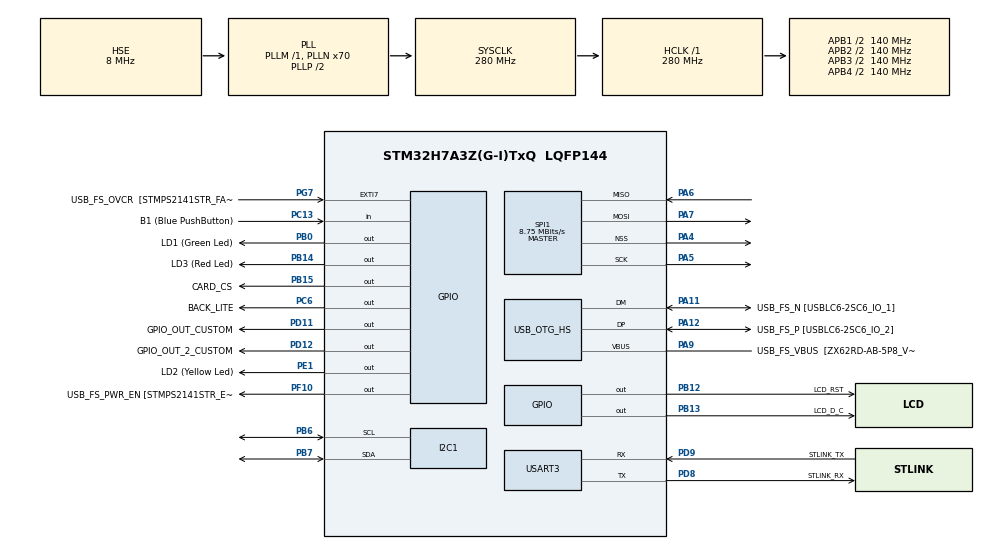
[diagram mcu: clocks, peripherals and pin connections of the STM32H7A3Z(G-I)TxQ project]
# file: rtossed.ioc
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Dma.Request0=SPI1_TX
Dma.SPI1_TX.0.Direction=DMA_MEMORY_TO_PERIPH
Dma.SPI1_TX.0.EventEnable=DISABLE
Dma.SPI1_TX.0.FIFOMode=DMA_FIFOMODE_DISABLE
Dma.SPI1_TX.0.Instance=DMA1_Stream0
Dma.SPI1_TX.0.MemDataAlignment=DMA_MDATAALIGN_BYTE
Dma.SPI1_TX.0.MemInc=DMA_MINC_ENABLE
Dma.SPI1_TX.0.Mode=DMA_NORMAL
Dma.SPI1_TX.0.PeriphDataAlignment=DMA_PDATAALIGN_BYTE
Dma.SPI1_TX.0.PeriphInc=DMA_PINC_DISABLE
Dma.SPI1_TX.0.Polarity=HAL_DMAMUX_REQ_GEN_RISING
Dma.SPI1_TX.0.Priority=DMA_PRIORITY_LOW
Dma.SPI1_TX.0.RequestNumber=1
Dma.SPI1_TX.0.SignalID=NONE
Dma.SPI1_TX.0.SyncEnable=DISABLE
Dma.SPI1_TX.0.SyncPolarity=HAL_DMAMUX_SYNC_NO_EVENT
Dma.SPI1_TX.0.SyncRequestNumber=1
Dma.SPI1_TX.0.SyncSignalID=NONE
I2C1.Timing=0x20B0CCFF
Mcu.Family=STM32H7
Mcu.Name=STM32H7A3Z(G-I)TxQ
Mcu.Package=LQFP144
NVIC.DMA1_Stream0_IRQn=true\:0\:0\:false\:false\:true\:false\:true\:true
NVIC.OTG_HS_IRQn=true\:0\:0\:false\:false\:true\:false\:true\:true
NVIC.PriorityGroup=NVIC_PRIORITYGROUP_4
NVIC.SPI1_IRQn=true\:0\:0\:false\:false\:true\:false\:true\:true
PA10.GPIO_Label=USB_FS_ID [ZX62RD-AB-5P8_ID]
PA10.Signal=USB_OTG_HS_ID
PA11.GPIO_Label=USB_FS_N [USBLC6-2SC6_IO_1]
PA11.Mode=Device_Only_FS
PA11.Signal=USB_OTG_HS_DM
PA12.GPIO_Label=USB_FS_P [USBLC6-2SC6_IO_2]
PA12.Mode=Device_Only_FS
PA12.Signal=USB_OTG_HS_DP
PA4.Mode=NSS_Signal_Hard_Output
PA4.Signal=SPI1_NSS
PA5.Mode=Full_Duplex_Master
PA5.Signal=SPI1_SCK
PA6.Mode=Full_Duplex_Master
PA6.Signal=SPI1_MISO
PA7.Mode=Full_Duplex_Master
PA7.Signal=SPI1_MOSI
PA9.GPIO_Label=USB_FS_VBUS  [ZX62RD-AB-5P8_VBUS]
PA9.Mode=Activate_VBUS_FS
PA9.Signal=USB_OTG_HS_VBUS
PB0.GPIO_Label=LD1 (Green Led)
PB0.Signal=GPIO_Output
PB12.GPIO_Label=LCD_RST
PB12.Signal=GPIO_Output
PB13.GPIO_Label=LCD_D_C
PB13.Signal=GPIO_Output
PB14.GPIO_Label=LD3 (Red Led)
PB14.Signal=GPIO_Output
PB15.GPIO_Label=CARD_CS
PB15.Signal=GPIO_Output
PB6.Mode=I2C
PB6.Signal=I2C1_SCL
PB7.Mode=I2C
PB7.Signal=I2C1_SDA
PC13.GPIO_Label=B1 (Blue PushButton)
PC13.Signal=GPIO_Input
PC14-OSC32_IN.GPIO_Label=OSC32_IN
PC14-OSC32_IN.Mode=LSE-External-Oscillator
PC14-OSC32_IN.Signal=RCC_OSC32_IN
PC15-OSC32_OUT.GPIO_Label=OSC32_OUT
PC15-OSC32_OUT.Mode=LSE-External-Oscillator
PC15-OSC32_OUT.Signal=RCC_OSC32_OUT
PC6.GPIO_Label=BACK_LITE
PC6.Signal=GPIO_Output
PD11.GPIO_Label=GPIO_OUT_CUSTOM
PD11.Signal=GPIO_Output
PD12.GPIO_Label=GPIO_OUT_2_CUSTOM
PD12.Signal=GPIO_Output
PD8.GPIO_Label=STLINK_RX
PD8.Mode=Asynchronous
PD8.Signal=USART3_TX
PD9.GPIO_Label=STLINK_TX
PD9.Mode=Asynchronous
PD9.Signal=USART3_RX
PE1.GPIO_Label=LD2 (Yellow Led)
PE1.Signal=GPIO_Output
PF10.GPIO_Label=USB_FS_PWR_EN [STMPS2141STR_EN]
PF10.Signal=GPIO_Output
PG7.GPIO_Label=USB_FS_OVCR  [STMPS2141STR_FAULT]
PG7.Signal=GPXTI7
PH0-OSC_IN.GPIO_Label=PH0-MCU
PH0-OSC_IN.Mode=HSE-External-Clock-Source
PH0-OSC_IN.Signal=RCC_OSC_IN
PH1-OSC_OUT.GPIO_Label=PH1-MCU
PH1-OSC_OUT.Signal=RCC_OSC_OUT
ProjectManager.HeapSize=0x2000
ProjectManager.StackSize=0x4000
ProjectManager.TargetToolchain=Makefile
RCC.ADCFreq_Value=16125000
RCC.APB1Freq_Value=140000000
RCC.APB2Freq_Value=140000000
RCC.APB3Freq_Value=140000000
RCC.APB4Freq_Value=140000000
RCC.CDPPRE=RCC_APB3_DIV2
RCC.CDPPRE1=RCC_APB1_DIV2
RCC.CDPPRE2=RCC_APB2_DIV2
RCC.CortexFreq_Value=280000000
RCC.DIVM1=1
RCC.DIVM3=1
RCC.DIVN1=70
RCC.DIVN3=24
RCC.DIVQ1=4
RCC.HCLKFreq_Value=280000000
RCC.HSE_VALUE=8000000
RCC.PLLFRACN=0
RCC.PLLSourceVirtual=RCC_PLLSOURCE_HSE
RCC.PWR_Regulator_Voltage_Scale=PWR_REGULATOR_VOLTAGE_SCALE0
RCC.SRDPPRE=RCC_APB4_DIV2
RCC.SYSCLKFreq_VALUE=280000000
RCC.SYSCLKSource=RCC_SYSCLKSOURCE_PLLCLK
RCC.SupplySource=PWR_DIRECT_SMPS_SUPPLY
RCC.USBCLockSelection=RCC_USBCLKSOURCE_HSI48
RCC.USBFreq_Value=48000000
SPI1.BaudRatePrescaler=SPI_BAUDRATEPRESCALER_16
SPI1.CalculateBaudRate=8.75 MBits/s
SPI1.DataSize=SPI_DATASIZE_8BIT
SPI1.Direction=SPI_DIRECTION_2LINES
SPI1.Mode=SPI_MODE_MASTER
SPI1.VirtualNSS=VM_NSSHARD
SPI1.VirtualType=VM_MASTER
USART3.VirtualMode-Asynchronous=VM_ASYNC
USB_DEVICE.CLASS_NAME_HS=CDC
USB_DEVICE.VirtualMode-CDC_HS=Cdc
USB_DEVICE.VirtualModeHS=Cdc_HS
USB_OTG_HS.VirtualMode-Device_Only_FS=Device_Only_FS
VP_USB_DEVICE_VS_USB_DEVICE_CDC_HS.Mode=CDC_HS
board=NUCLEO-H7A3ZI-Q

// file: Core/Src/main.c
/* USER CODE BEGIN Header */
/**
Johnathan (Jack) Leys

ECE 331
Modidied main, dependancaies and original code from STMicroelectronics.
  ******************************************************************************
  * @file           : main.c
  * @brief          : Main program body
  ******************************************************************************
  * @attention
  *
  * Copyright (c) 2023 STMicroelectronics.
  * All rights reserved.
  *
  * This software is licensed under terms that can be found in the LICENSE file
  * in the root directory of this software component.
  * If no LICENSE file comes with this software, it is provided AS-IS.
  *
  ******************************************************************************
  */
/* USER CODE END Header */
#include "main.h"
#include "dma.h"
#include "i2c.h"
#include "spi.h"
#include "usart.h"
#include "usb_device.h"
#include "gpio.h"

/* USER CODE BEGIN Includes */

#include "Adafruit_ST7735.h"
#include "graphics.h"
#include "progs.h"
#include "sh.h"
#include "process.h"

//

/* USER CODE END Includes */

/* USER CODE BEGIN PTD */
int kready = 0;
extern task_struct task_idle;
extern const uint32_t _eustack[];
/* USER CODE END PTD */

void SystemClock_Config(void);

int main(void)
{

	/* MCU Configuration-------------------------------------------------------- */

	/* Reset of all peripherals, Initializes the Flash interface and the Systick. */
	HAL_Init();

	/* Configure the system clock */
	SystemClock_Config();

	/* Initialize all configured peripherals */
	MX_GPIO_Init();
	MX_DMA_Init();
	MX_I2C1_Init();
	MX_SPI1_Init();
	MX_USART3_UART_Init();
	MX_USB_DEVICE_Init();
	/* USER CODE BEGIN 2 */

    //Enable Hardware Semaphore Clock
    __HAL_RCC_HSEM_CLK_ENABLE();

	//TFT display setup
	HAL_GPIO_WritePin(BACK_LITE_GPIO_Port, BACK_LITE_Pin, 1);
	Adafruit_ST7735_initR(INITR_18GREENTAB);
	Adafruit_ST7735_setRotation(1);
	Adafruit_ST7735_fillScreen(0x0000);
	graphics_init(160, 128);
	graphics_setTextWrap(false);
	graphics_setTextColor(0xFFFF);
	graphics_setTextSize(2);
	graphics_drawText("h", 1, 1);

	//initialize PSP
	__set_PSP((uint32_t) _eustack);	//__set_PSP((uint32_t)&_eustack);

	//remove stdout buffering, wait for usb to enumerate
	setvbuf(stdout, NULL, _IONBF, 0);
	HAL_Delay(2500);

	process_table_init();	//initialize process table

	kready = 1; //set global var to indicate readiness

	/* USER CODE END 2 */

	/* Infinite loop */
	while (1) {
        //Toggle LED to indicate 2 tasks switching (shell is other task)

		HAL_Delay(50);	//delay to get 10hz 50+50 = 100, 1/10 of sec
		HAL_GPIO_TogglePin(GPIO_OUT_2_CUSTOM_GPIO_Port, GPIO_OUT_2_CUSTOM_Pin);
		HAL_Delay(50);
		HAL_GPIO_TogglePin(GPIO_OUT_2_CUSTOM_GPIO_Port,
				   GPIO_OUT_2_CUSTOM_Pin);

	}
	return 0;
}				//end Main

void SystemClock_Config(void)
{
	RCC_OscInitTypeDef RCC_OscInitStruct = { 0 };
	RCC_ClkInitTypeDef RCC_ClkInitStruct = { 0 };

	/*AXI clock gating */
	RCC->CKGAENR = 0xFFFFFFFF;

  /** Supply configuration update enable
  */
	HAL_PWREx_ConfigSupply(PWR_DIRECT_SMPS_SUPPLY);

  /** Configure the main internal regulator output voltage
  */
	__HAL_PWR_VOLTAGESCALING_CONFIG(PWR_REGULATOR_VOLTAGE_SCALE0);

	while (!__HAL_PWR_GET_FLAG(PWR_FLAG_VOSRDY)) {
	}

  /** Initializes the RCC Oscillators according to the specified parameters
  * in the RCC_OscInitTypeDef structure.
  */
	RCC_OscInitStruct.OscillatorType =
	    RCC_OSCILLATORTYPE_HSI48 | RCC_OSCILLATORTYPE_HSE;
	RCC_OscInitStruct.HSEState = RCC_HSE_BYPASS;
	RCC_OscInitStruct.HSI48State = RCC_HSI48_ON;
	RCC_OscInitStruct.PLL.PLLState = RCC_PLL_ON;
	RCC_OscInitStruct.PLL.PLLSource = RCC_PLLSOURCE_HSE;
	RCC_OscInitStruct.PLL.PLLM = 1;
	RCC_OscInitStruct.PLL.PLLN = 70;
	RCC_OscInitStruct.PLL.PLLP = 2;
	RCC_OscInitStruct.PLL.PLLQ = 4;
	RCC_OscInitStruct.PLL.PLLR = 2;
	RCC_OscInitStruct.PLL.PLLRGE = RCC_PLL1VCIRANGE_3;
	RCC_OscInitStruct.PLL.PLLVCOSEL = RCC_PLL1VCOWIDE;
	RCC_OscInitStruct.PLL.PLLFRACN = 0;
	if (HAL_RCC_OscConfig(&RCC_OscInitStruct) != HAL_OK) {
		Error_Handler();
	}

  /** Initializes the CPU, AHB and APB buses clocks
  */
	RCC_ClkInitStruct.ClockType = RCC_CLOCKTYPE_HCLK | RCC_CLOCKTYPE_SYSCLK
	    | RCC_CLOCKTYPE_PCLK1 | RCC_CLOCKTYPE_PCLK2
	    | RCC_CLOCKTYPE_D3PCLK1 | RCC_CLOCKTYPE_D1PCLK1;
	RCC_ClkInitStruct.SYSCLKSource = RCC_SYSCLKSOURCE_PLLCLK;
	RCC_ClkInitStruct.SYSCLKDivider = RCC_SYSCLK_DIV1;
	RCC_ClkInitStruct.AHBCLKDivider = RCC_HCLK_DIV1;
	RCC_ClkInitStruct.APB3CLKDivider = RCC_APB3_DIV2;
	RCC_ClkInitStruct.APB1CLKDivider = RCC_APB1_DIV2;
	RCC_ClkInitStruct.APB2CLKDivider = RCC_APB2_DIV2;
	RCC_ClkInitStruct.APB4CLKDivider = RCC_APB4_DIV2;

	if (HAL_RCC_ClockConfig(&RCC_ClkInitStruct, FLASH_LATENCY_7) != HAL_OK) {
		Error_Handler();
	}
}

void Error_Handler(void)
{
	__disable_irq();
	while (1) {
	}
}
